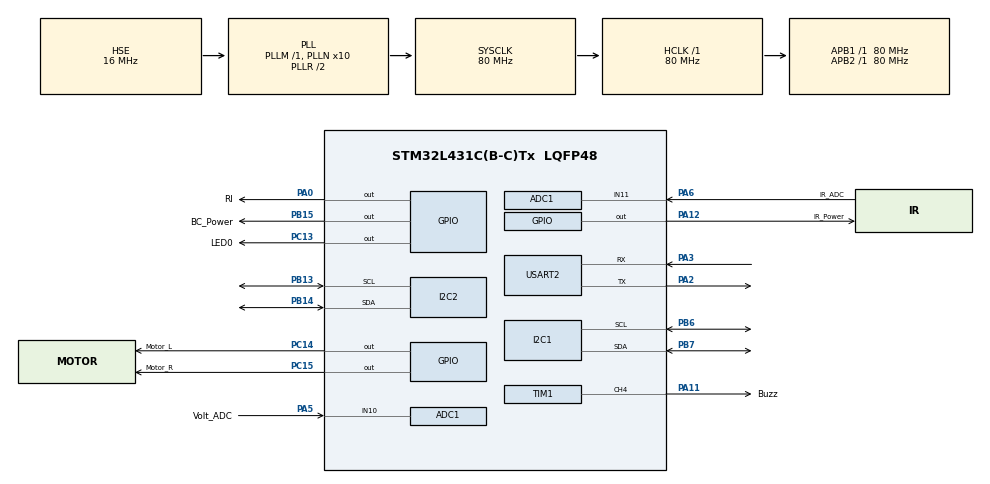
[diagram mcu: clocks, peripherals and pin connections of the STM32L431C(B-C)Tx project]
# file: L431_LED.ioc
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ADC1.Channel-1\#ChannelRegularConversion=ADC_CHANNEL_10
ADC1.NbrOfConversionFlag=1
ADC1.OffsetNumber-1\#ChannelRegularConversion=ADC_OFFSET_NONE
ADC1.Rank-1\#ChannelRegularConversion=1
ADC1.SamplingTime-1\#ChannelRegularConversion=ADC_SAMPLETIME_2CYCLES_5
ADC1.master=1
Dma.Request0=USART2_RX
Dma.USART2_RX.0.Direction=DMA_PERIPH_TO_MEMORY
Dma.USART2_RX.0.Instance=DMA1_Channel6
Dma.USART2_RX.0.MemDataAlignment=DMA_MDATAALIGN_BYTE
Dma.USART2_RX.0.MemInc=DMA_MINC_ENABLE
Dma.USART2_RX.0.Mode=DMA_NORMAL
Dma.USART2_RX.0.PeriphDataAlignment=DMA_PDATAALIGN_BYTE
Dma.USART2_RX.0.PeriphInc=DMA_PINC_DISABLE
Dma.USART2_RX.0.Priority=DMA_PRIORITY_LOW
I2C1.Timing=0x10909CEC
I2C2.Timing=0x10909CEC
Mcu.Family=STM32L4
Mcu.Name=STM32L431C(B-C)Tx
Mcu.Package=LQFP48
NVIC.DMA1_Channel6_IRQn=true\:0\:0\:false\:false\:true\:false\:true
NVIC.PriorityGroup=NVIC_PRIORITYGROUP_4
NVIC.USART2_IRQn=true\:0\:0\:false\:false\:true\:true\:true
PA0.GPIO_Label=RI
PA0.Signal=GPIO_Output
PA11.GPIO_Label=Buzz
PA11.GPIO_PuPd=GPIO_PULLDOWN
PA11.Signal=S_TIM1_CH4
PA12.GPIO_Label=IR_Power
PA12.PinState=GPIO_PIN_SET
PA12.Signal=GPIO_Output
PA13\ (JTMS-SWDIO).Mode=Serial_Wire
PA13\ (JTMS-SWDIO).Signal=SYS_JTMS-SWDIO
PA14\ (JTCK-SWCLK).Mode=Serial_Wire
PA14\ (JTCK-SWCLK).Signal=SYS_JTCK-SWCLK
PA2.Mode=Asynchronous
PA2.Signal=USART2_TX
PA3.Mode=Asynchronous
PA3.Signal=USART2_RX
PA5.GPIO_Label=Volt_ADC
PA5.Signal=ADCx_IN10
PA6.GPIO_Label=IR_ADC
PA6.Signal=ADCx_IN11
PB13.Mode=I2C
PB13.Signal=I2C2_SCL
PB14.Mode=I2C
PB14.Signal=I2C2_SDA
PB15.GPIO_Label=BC_Power
PB15.GPIO_Speed=GPIO_SPEED_FREQ_MEDIUM
PB15.PinState=GPIO_PIN_RESET
PB15.Signal=GPIO_Output
PB6.Mode=I2C
PB6.Signal=I2C1_SCL
PB7.Mode=I2C
PB7.Signal=I2C1_SDA
PC13.GPIO_Label=LED0
PC13.PinState=GPIO_PIN_SET
PC13.Signal=GPIO_Output
PC13.Stacked=true
PC14-OSC32_IN\ (PC14).GPIO_Label=Motor_L
PC14-OSC32_IN\ (PC14).PinState=GPIO_PIN_SET
PC14-OSC32_IN\ (PC14).Signal=GPIO_Output
PC15-OSC32_OUT\ (PC15).GPIO_Label=Motor_R
PC15-OSC32_OUT\ (PC15).PinState=GPIO_PIN_SET
PC15-OSC32_OUT\ (PC15).Signal=GPIO_Output
PH0-OSC_IN\ (PH0).Mode=HSE-External-Oscillator
PH0-OSC_IN\ (PH0).Signal=RCC_OSC_IN
PH1-OSC_OUT\ (PH1).Mode=HSE-External-Oscillator
PH1-OSC_OUT\ (PH1).Signal=RCC_OSC_OUT
ProjectManager.HeapSize=0x200
ProjectManager.StackSize=0x400
ProjectManager.TargetToolchain=Other Toolchains (GPDSC)
RCC.ADCFreq_Value=64000000
RCC.AHBFreq_Value=80000000
RCC.APB1Freq_Value=80000000
RCC.APB1TimFreq_Value=80000000
RCC.APB2Freq_Value=80000000
RCC.APB2TimFreq_Value=80000000
RCC.CortexFreq_Value=80000000
RCC.HCLKFreq_Value=80000000
RCC.HSE_VALUE=16000000
RCC.HSI48_VALUE=48000000
RCC.HSI_VALUE=16000000
RCC.LSE_VALUE=32768
RCC.MSI_VALUE=4000000
RCC.PLLN=10
RCC.PLLSourceVirtual=RCC_PLLSOURCE_HSE
RCC.SYSCLKFreq_VALUE=80000000
RCC.SYSCLKSource=RCC_SYSCLKSOURCE_PLLCLK
RCC.VCOOutputFreq_Value=160000000
SH.ADCx_IN10.0=ADC1_IN10,IN10-Single-Ended
SH.ADCx_IN11.0=ADC1_IN11,IN11-Single-Ended
SH.S_TIM1_CH4.0=TIM1_CH4,PWM Generation4 CH4
TIM1.Channel-PWM\ Generation4\ CH4=TIM_CHANNEL_4
TIM1.Prescaler=80-1
USART2.VirtualMode-Asynchronous=VM_ASYNC
board=custom

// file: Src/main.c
/* USER CODE BEGIN Header */
/**
  ******************************************************************************
  * @file           : main.c
  * @brief          : Main program body
  ******************************************************************************
  * @attention
  *
  * <h2><center>&copy; Copyright (c) 2021 STMicroelectronics.
  * All rights reserved.</center></h2>
  *
  * This software component is licensed by ST under BSD 3-Clause license,
  * the "License"; You may not use this file except in compliance with the
  * License. You may obtain a copy of the License at:
  *                        opensource.org/licenses/BSD-3-Clause
  *
  ******************************************************************************
  */
/* USER CODE END Header */
#include "main.h"

ADC_HandleTypeDef hadc1;

I2C_HandleTypeDef hi2c1;
I2C_HandleTypeDef hi2c2;

TIM_HandleTypeDef htim1;

UART_HandleTypeDef huart2;
DMA_HandleTypeDef hdma_usart2_rx;

void SystemClock_Config(void);
static void MX_GPIO_Init(void);
static void MX_DMA_Init(void);
static void MX_ADC1_Init(void);
static void MX_I2C1_Init(void);
static void MX_I2C2_Init(void);
static void MX_USART2_UART_Init(void);
static void MX_TIM1_Init(void);

int main(void)
{

  /* MCU Configuration--------------------------------------------------------*/

  /* Reset of all peripherals, Initializes the Flash interface and the Systick. */
  HAL_Init();

  /* USER CODE BEGIN Init */
	__GPIOC_CLK_ENABLE();
	__GPIOB_CLK_ENABLE();
	__GPIOA_CLK_ENABLE();
	GPIO_InitTypeDef GPIO_InitStructure;

  /* USER CODE END Init */

  /* Configure the system clock */
  SystemClock_Config();

  /* Initialize all configured peripherals */
  MX_GPIO_Init();
  MX_DMA_Init();
  MX_ADC1_Init();
  MX_I2C1_Init();
  MX_I2C2_Init();
  MX_USART2_UART_Init();
  MX_TIM1_Init();
  /* USER CODE BEGIN 2 */
	HAL_GPIO_WritePin(BC_Power_GPIO_Port,BC_Power_Pin, GPIO_PIN_SET);
	HAL_Delay(500);
	HAL_GPIO_WritePin(BC_Power_GPIO_Port, BC_Power_Pin, GPIO_PIN_RESET);
	HAL_UART_Transmit(&huart2, "BC26BootingWait20sec\r\n", 25, 1);           //进行握手协议
	HAL_Delay(20000);

	HAL_UART_Transmit(&huart2, "AT\r\n", 7, 1);          //进行握手协议
	HAL_Delay(1000);
	HAL_UART_Transmit(&huart2, "AT+CPSMS=0\r\n", 14, 1); //关闭PSM模式
	HAL_Delay(100);
	HAL_UART_Transmit(&huart2, "AT+CIMI\r\n", 12, 1);    //查询IMSI，国际移动用户识别码
	HAL_Delay(100);
	HAL_UART_Transmit(&huart2, "AT+CGSN=1\r\n", 12, 1);      //查询IMEI，国际移动设备识别码
	HAL_Delay(100);
	HAL_UART_Transmit(&huart2, "AT+CSQ\r\n", 12, 1);        //信号质量
	HAL_Delay(1000);
	HAL_UART_Transmit(&huart2, "AT+CESQ\r\n", 12, 1);       //信号质量
	HAL_Delay(1000);
	HAL_UART_Transmit(&huart2, "AT+CGATT?\r\n", 14, 10);   //查询是否附着网络，网络是否激活
	HAL_Delay(1000);
	HAL_UART_Transmit(&huart2, "AT+CEREG=1\r\n", 12, 100);        //查询网络注册状态
	HAL_Delay(1000);
	HAL_UART_Transmit(&huart2, "AT+COPS?\r\n", 12, 100);        //查询网络运营商
	HAL_Delay(1000);
	HAL_UART_Transmit(&huart2, "AT+CSCON?\r\n", 12, 100);       //查询当前网络连接状态
	HAL_Delay(100);
	HAL_UART_Transmit(&huart2, "AT+CGPADDR=1\r\n", 14, 1);  //查询PDP地址
	HAL_Delay(100);

	HAL_UART_Transmit(&huart2, "AT+QSOC=1,1,1\r\n", 14, 1);    //查询PDP地址
	HAL_Delay(100);

  /* USER CODE END 2 */

  /* Infinite loop */
  while (1)
  {
	  HAL_GPIO_TogglePin(LED0_GPIO_Port, LED0_Pin);
	  HAL_Delay(500);
  }
}

void SystemClock_Config(void)
{
  RCC_OscInitTypeDef RCC_OscInitStruct = {0};
  RCC_ClkInitTypeDef RCC_ClkInitStruct = {0};
  RCC_PeriphCLKInitTypeDef PeriphClkInit = {0};

  /** Initializes the RCC Oscillators according to the specified parameters
  * in the RCC_OscInitTypeDef structure.
  */
  RCC_OscInitStruct.OscillatorType = RCC_OSCILLATORTYPE_HSE;
  RCC_OscInitStruct.HSEState = RCC_HSE_ON;
  RCC_OscInitStruct.PLL.PLLState = RCC_PLL_ON;
  RCC_OscInitStruct.PLL.PLLSource = RCC_PLLSOURCE_HSE;
  RCC_OscInitStruct.PLL.PLLM = 1;
  RCC_OscInitStruct.PLL.PLLN = 10;
  RCC_OscInitStruct.PLL.PLLP = RCC_PLLP_DIV7;
  RCC_OscInitStruct.PLL.PLLQ = RCC_PLLQ_DIV2;
  RCC_OscInitStruct.PLL.PLLR = RCC_PLLR_DIV2;
  if (HAL_RCC_OscConfig(&RCC_OscInitStruct) != HAL_OK)
  {
    Error_Handler();
  }
  /** Initializes the CPU, AHB and APB buses clocks
  */
  RCC_ClkInitStruct.ClockType = RCC_CLOCKTYPE_HCLK|RCC_CLOCKTYPE_SYSCLK
                              |RCC_CLOCKTYPE_PCLK1|RCC_CLOCKTYPE_PCLK2;
  RCC_ClkInitStruct.SYSCLKSource = RCC_SYSCLKSOURCE_PLLCLK;
  RCC_ClkInitStruct.AHBCLKDivider = RCC_SYSCLK_DIV1;
  RCC_ClkInitStruct.APB1CLKDivider = RCC_HCLK_DIV1;
  RCC_ClkInitStruct.APB2CLKDivider = RCC_HCLK_DIV1;

  if (HAL_RCC_ClockConfig(&RCC_ClkInitStruct, FLASH_LATENCY_4) != HAL_OK)
  {
    Error_Handler();
  }
  PeriphClkInit.PeriphClockSelection = RCC_PERIPHCLK_USART2|RCC_PERIPHCLK_I2C1
                              |RCC_PERIPHCLK_I2C2|RCC_PERIPHCLK_ADC;
  PeriphClkInit.Usart2ClockSelection = RCC_USART2CLKSOURCE_PCLK1;
  PeriphClkInit.I2c1ClockSelection = RCC_I2C1CLKSOURCE_PCLK1;
  PeriphClkInit.I2c2ClockSelection = RCC_I2C2CLKSOURCE_PCLK1;
  PeriphClkInit.AdcClockSelection = RCC_ADCCLKSOURCE_PLLSAI1;
  PeriphClkInit.PLLSAI1.PLLSAI1Source = RCC_PLLSOURCE_HSE;
  PeriphClkInit.PLLSAI1.PLLSAI1M = 1;
  PeriphClkInit.PLLSAI1.PLLSAI1N = 8;
  PeriphClkInit.PLLSAI1.PLLSAI1P = RCC_PLLP_DIV7;
  PeriphClkInit.PLLSAI1.PLLSAI1Q = RCC_PLLQ_DIV2;
  PeriphClkInit.PLLSAI1.PLLSAI1R = RCC_PLLR_DIV2;
  PeriphClkInit.PLLSAI1.PLLSAI1ClockOut = RCC_PLLSAI1_ADC1CLK;
  if (HAL_RCCEx_PeriphCLKConfig(&PeriphClkInit) != HAL_OK)
  {
    Error_Handler();
  }
  /** Configure the main internal regulator output voltage
  */
  if (HAL_PWREx_ControlVoltageScaling(PWR_REGULATOR_VOLTAGE_SCALE1) != HAL_OK)
  {
    Error_Handler();
  }
}

static void MX_ADC1_Init(void)
{

  ADC_ChannelConfTypeDef sConfig = {0};

  /** Common config
  */
  hadc1.Instance = ADC1;
  hadc1.Init.ClockPrescaler = ADC_CLOCK_ASYNC_DIV1;
  hadc1.Init.Resolution = ADC_RESOLUTION_12B;
  hadc1.Init.DataAlign = ADC_DATAALIGN_RIGHT;
  hadc1.Init.ScanConvMode = ADC_SCAN_DISABLE;
  hadc1.Init.EOCSelection = ADC_EOC_SINGLE_CONV;
  hadc1.Init.LowPowerAutoWait = DISABLE;
  hadc1.Init.ContinuousConvMode = DISABLE;
  hadc1.Init.NbrOfConversion = 1;
  hadc1.Init.DiscontinuousConvMode = DISABLE;
  hadc1.Init.ExternalTrigConv = ADC_SOFTWARE_START;
  hadc1.Init.ExternalTrigConvEdge = ADC_EXTERNALTRIGCONVEDGE_NONE;
  hadc1.Init.DMAContinuousRequests = DISABLE;
  hadc1.Init.Overrun = ADC_OVR_DATA_PRESERVED;
  hadc1.Init.OversamplingMode = DISABLE;
  if (HAL_ADC_Init(&hadc1) != HAL_OK)
  {
    Error_Handler();
  }
  /** Configure Regular Channel
  */
  sConfig.Channel = ADC_CHANNEL_10;
  sConfig.Rank = ADC_REGULAR_RANK_1;
  sConfig.SamplingTime = ADC_SAMPLETIME_2CYCLES_5;
  sConfig.SingleDiff = ADC_SINGLE_ENDED;
  sConfig.OffsetNumber = ADC_OFFSET_NONE;
  sConfig.Offset = 0;
  if (HAL_ADC_ConfigChannel(&hadc1, &sConfig) != HAL_OK)
  {
    Error_Handler();
  }

}

static void MX_I2C1_Init(void)
{

  hi2c1.Instance = I2C1;
  hi2c1.Init.Timing = 0x10909CEC;
  hi2c1.Init.OwnAddress1 = 0;
  hi2c1.Init.AddressingMode = I2C_ADDRESSINGMODE_7BIT;
  hi2c1.Init.DualAddressMode = I2C_DUALADDRESS_DISABLE;
  hi2c1.Init.OwnAddress2 = 0;
  hi2c1.Init.OwnAddress2Masks = I2C_OA2_NOMASK;
  hi2c1.Init.GeneralCallMode = I2C_GENERALCALL_DISABLE;
  hi2c1.Init.NoStretchMode = I2C_NOSTRETCH_DISABLE;
  if (HAL_I2C_Init(&hi2c1) != HAL_OK)
  {
    Error_Handler();
  }
  /** Configure Analogue filter
  */
  if (HAL_I2CEx_ConfigAnalogFilter(&hi2c1, I2C_ANALOGFILTER_ENABLE) != HAL_OK)
  {
    Error_Handler();
  }
  /** Configure Digital filter
  */
  if (HAL_I2CEx_ConfigDigitalFilter(&hi2c1, 0) != HAL_OK)
  {
    Error_Handler();
  }

}

static void MX_I2C2_Init(void)
{

  hi2c2.Instance = I2C2;
  hi2c2.Init.Timing = 0x10909CEC;
  hi2c2.Init.OwnAddress1 = 0;
  hi2c2.Init.AddressingMode = I2C_ADDRESSINGMODE_7BIT;
  hi2c2.Init.DualAddressMode = I2C_DUALADDRESS_DISABLE;
  hi2c2.Init.OwnAddress2 = 0;
  hi2c2.Init.OwnAddress2Masks = I2C_OA2_NOMASK;
  hi2c2.Init.GeneralCallMode = I2C_GENERALCALL_DISABLE;
  hi2c2.Init.NoStretchMode = I2C_NOSTRETCH_DISABLE;
  if (HAL_I2C_Init(&hi2c2) != HAL_OK)
  {
    Error_Handler();
  }
  /** Configure Analogue filter
  */
  if (HAL_I2CEx_ConfigAnalogFilter(&hi2c2, I2C_ANALOGFILTER_ENABLE) != HAL_OK)
  {
    Error_Handler();
  }
  /** Configure Digital filter
  */
  if (HAL_I2CEx_ConfigDigitalFilter(&hi2c2, 0) != HAL_OK)
  {
    Error_Handler();
  }

}

static void MX_TIM1_Init(void)
{

  TIM_MasterConfigTypeDef sMasterConfig = {0};
  TIM_OC_InitTypeDef sConfigOC = {0};
  TIM_BreakDeadTimeConfigTypeDef sBreakDeadTimeConfig = {0};

  htim1.Instance = TIM1;
  htim1.Init.Prescaler = 80-1;
  htim1.Init.CounterMode = TIM_COUNTERMODE_UP;
  htim1.Init.Period = 65535;
  htim1.Init.ClockDivision = TIM_CLOCKDIVISION_DIV1;
  htim1.Init.RepetitionCounter = 0;
  htim1.Init.AutoReloadPreload = TIM_AUTORELOAD_PRELOAD_DISABLE;
  if (HAL_TIM_PWM_Init(&htim1) != HAL_OK)
  {
    Error_Handler();
  }
  sMasterConfig.MasterOutputTrigger = TIM_TRGO_RESET;
  sMasterConfig.MasterOutputTrigger2 = TIM_TRGO2_RESET;
  sMasterConfig.MasterSlaveMode = TIM_MASTERSLAVEMODE_DISABLE;
  if (HAL_TIMEx_MasterConfigSynchronization(&htim1, &sMasterConfig) != HAL_OK)
  {
    Error_Handler();
  }
  sConfigOC.OCMode = TIM_OCMODE_PWM1;
  sConfigOC.Pulse = 0;
  sConfigOC.OCPolarity = TIM_OCPOLARITY_HIGH;
  sConfigOC.OCFastMode = TIM_OCFAST_DISABLE;
  sConfigOC.OCIdleState = TIM_OCIDLESTATE_RESET;
  sConfigOC.OCNIdleState = TIM_OCNIDLESTATE_RESET;
  if (HAL_TIM_PWM_ConfigChannel(&htim1, &sConfigOC, TIM_CHANNEL_4) != HAL_OK)
  {
    Error_Handler();
  }
  sBreakDeadTimeConfig.OffStateRunMode = TIM_OSSR_DISABLE;
  sBreakDeadTimeConfig.OffStateIDLEMode = TIM_OSSI_DISABLE;
  sBreakDeadTimeConfig.LockLevel = TIM_LOCKLEVEL_OFF;
  sBreakDeadTimeConfig.DeadTime = 0;
  sBreakDeadTimeConfig.BreakState = TIM_BREAK_DISABLE;
  sBreakDeadTimeConfig.BreakPolarity = TIM_BREAKPOLARITY_HIGH;
  sBreakDeadTimeConfig.BreakFilter = 0;
  sBreakDeadTimeConfig.Break2State = TIM_BREAK2_DISABLE;
  sBreakDeadTimeConfig.Break2Polarity = TIM_BREAK2POLARITY_HIGH;
  sBreakDeadTimeConfig.Break2Filter = 0;
  sBreakDeadTimeConfig.AutomaticOutput = TIM_AUTOMATICOUTPUT_DISABLE;
  if (HAL_TIMEx_ConfigBreakDeadTime(&htim1, &sBreakDeadTimeConfig) != HAL_OK)
  {
    Error_Handler();
  }
  HAL_TIM_MspPostInit(&htim1);

}

static void MX_USART2_UART_Init(void)
{

  huart2.Instance = USART2;
  huart2.Init.BaudRate = 115200;
  huart2.Init.WordLength = UART_WORDLENGTH_8B;
  huart2.Init.StopBits = UART_STOPBITS_1;
  huart2.Init.Parity = UART_PARITY_NONE;
  huart2.Init.Mode = UART_MODE_TX_RX;
  huart2.Init.HwFlowCtl = UART_HWCONTROL_NONE;
  huart2.Init.OverSampling = UART_OVERSAMPLING_16;
  huart2.Init.OneBitSampling = UART_ONE_BIT_SAMPLE_DISABLE;
  huart2.AdvancedInit.AdvFeatureInit = UART_ADVFEATURE_NO_INIT;
  if (HAL_UART_Init(&huart2) != HAL_OK)
  {
    Error_Handler();
  }

}

static void MX_DMA_Init(void)
{

  /* DMA controller clock enable */
  __HAL_RCC_DMA1_CLK_ENABLE();

  /* DMA interrupt init */
  /* DMA1_Channel6_IRQn interrupt configuration */
  HAL_NVIC_SetPriority(DMA1_Channel6_IRQn, 0, 0);
  HAL_NVIC_EnableIRQ(DMA1_Channel6_IRQn);

}

static void MX_GPIO_Init(void)
{
  GPIO_InitTypeDef GPIO_InitStruct = {0};

  /* GPIO Ports Clock Enable */
  __HAL_RCC_GPIOC_CLK_ENABLE();
  __HAL_RCC_GPIOH_CLK_ENABLE();
  __HAL_RCC_GPIOA_CLK_ENABLE();
  __HAL_RCC_GPIOB_CLK_ENABLE();

  /*Configure GPIO pin Output Level */
  HAL_GPIO_WritePin(GPIOC, LED0_Pin|Motor_L_Pin|Motor_R_Pin, GPIO_PIN_SET);

  /*Configure GPIO pin Output Level */
  HAL_GPIO_WritePin(RI_GPIO_Port, RI_Pin, GPIO_PIN_RESET);

  /*Configure GPIO pin Output Level */
  HAL_GPIO_WritePin(BC_Power_GPIO_Port, BC_Power_Pin, GPIO_PIN_RESET);

  /*Configure GPIO pin Output Level */
  HAL_GPIO_WritePin(IR_Power_GPIO_Port, IR_Power_Pin, GPIO_PIN_SET);

  /*Configure GPIO pins : LED0_Pin Motor_L_Pin Motor_R_Pin */
  GPIO_InitStruct.Pin = LED0_Pin|Motor_L_Pin|Motor_R_Pin;
  GPIO_InitStruct.Mode = GPIO_MODE_OUTPUT_PP;
  GPIO_InitStruct.Pull = GPIO_NOPULL;
  GPIO_InitStruct.Speed = GPIO_SPEED_FREQ_LOW;
  HAL_GPIO_Init(GPIOC, &GPIO_InitStruct);

  /*Configure GPIO pins : RI_Pin IR_Power_Pin */
  GPIO_InitStruct.Pin = RI_Pin|IR_Power_Pin;
  GPIO_InitStruct.Mode = GPIO_MODE_OUTPUT_PP;
  GPIO_InitStruct.Pull = GPIO_NOPULL;
  GPIO_InitStruct.Speed = GPIO_SPEED_FREQ_LOW;
  HAL_GPIO_Init(GPIOA, &GPIO_InitStruct);

  /*Configure GPIO pin : BC_Power_Pin */
  GPIO_InitStruct.Pin = BC_Power_Pin;
  GPIO_InitStruct.Mode = GPIO_MODE_OUTPUT_PP;
  GPIO_InitStruct.Pull = GPIO_NOPULL;
  GPIO_InitStruct.Speed = GPIO_SPEED_FREQ_MEDIUM;
  HAL_GPIO_Init(BC_Power_GPIO_Port, &GPIO_InitStruct);

}

/* USER CODE BEGIN 4 */
void BC_Power(void)
{
	GPIO_InitTypeDef GPIO_Structure;

}
/* USER CODE END 4 */

void Error_Handler(void)
{
}

/************************ (C) COPYRIGHT STMicroelectronics *****END OF FILE****/
